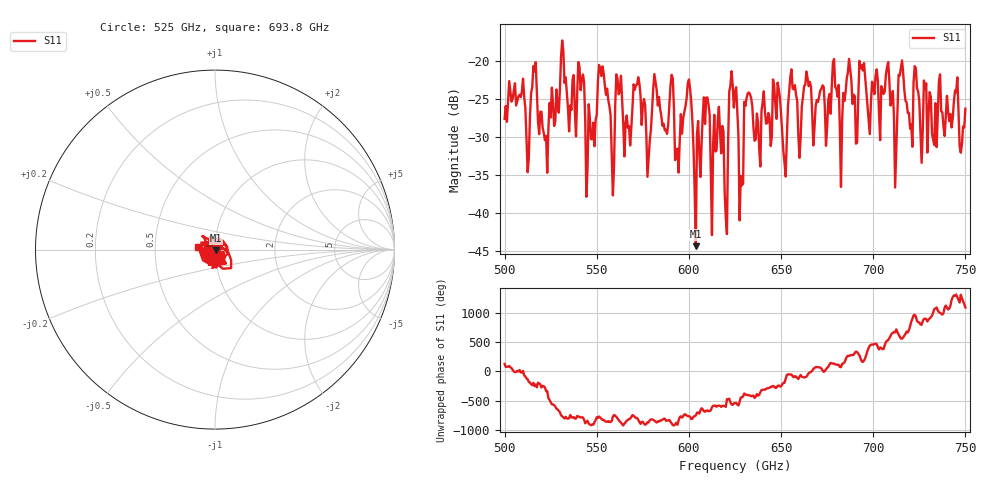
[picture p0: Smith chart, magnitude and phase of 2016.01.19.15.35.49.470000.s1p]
!Created with skrf (http://scikit-rf.org).
# GHz S RI R 50.0
!freq ReS11 ImS11
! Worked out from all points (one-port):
!   401 points, 500 GHz to 750 GHz, reference 50 ohm
!   lowest |S11| = -44.3 dB at 603.8 GHz (marker M1), VSWR 1.01, Z = 50.5 - j0.356 ohm
!   |S11| at or under -10 dB: start of sweep to end of sweep
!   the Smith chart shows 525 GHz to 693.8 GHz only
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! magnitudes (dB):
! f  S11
! 500 GHz  -27.6
! 512.5 GHz  -34.6
! 516.2 GHz  -21.3
! 522.5 GHz  -29.8
! 531.2 GHz  -17.3
! 541.2 GHz  -23.8
! 545.6 GHz  -25.7
! 551.9 GHz  -21.0
! 558.1 GHz  -32.1
! 562.5 GHz  -23.9
! 578.1 GHz  -32.8
! 590.6 GHz  -21.8
! 593.8 GHz  -31.5
! 600 GHz  -22.4
! 603.8 GHz  -44.3
! 609.4 GHz  -24.8
! 620 GHz  -40.5
! 622.5 GHz  -23.2
! 625 GHz  -24.1
! 628.1 GHz  -35.1
! 631.2 GHz  -24.9
! 646.9 GHz  -25.7
! 651.9 GHz  -33.4
! 656.2 GHz  -23.6
! 683.1 GHz  -27.8
! 687.5 GHz  -21.1
! 718.8 GHz  -26.8
! 750 GHz  -26.2
